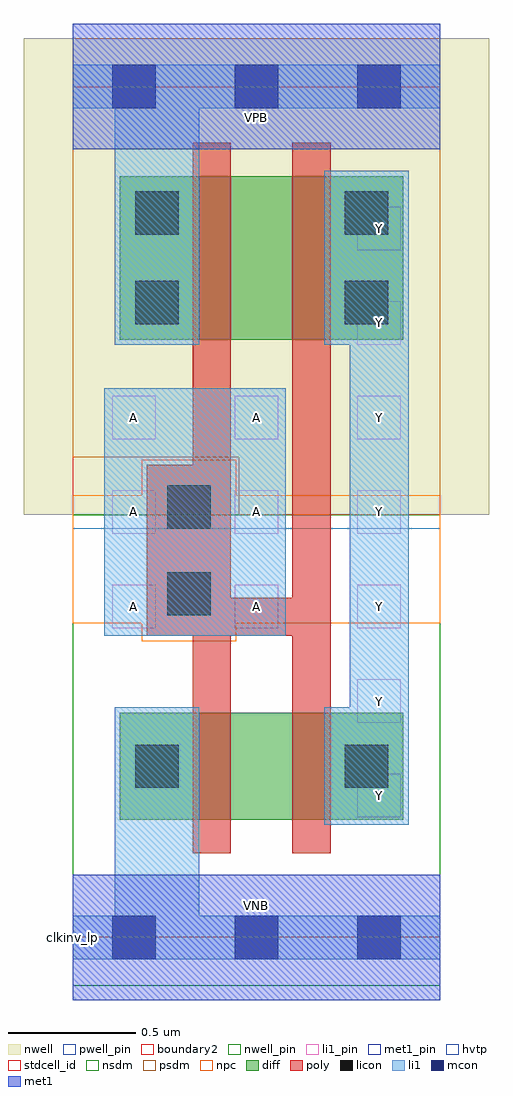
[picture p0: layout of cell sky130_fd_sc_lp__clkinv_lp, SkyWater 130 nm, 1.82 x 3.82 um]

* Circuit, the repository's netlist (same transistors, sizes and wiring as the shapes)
* Copyright 2020 The SkyWater PDK Authors
*
* Licensed under the Apache License, Version 2.0 (the "License");
* you may not use this file except in compliance with the License.
* You may obtain a copy of the License at
*
*     https://www.apache.org/licenses/LICENSE-2.0
*
* Unless required by applicable law or agreed to in writing, software
* distributed under the License is distributed on an "AS IS" BASIS,
* WITHOUT WARRANTIES OR CONDITIONS OF ANY KIND, either express or implied.
* See the License for the specific language governing permissions and
* limitations under the License.
*
* SPDX-License-Identifier: Apache-2.0

.SUBCKT sky130_fd_sc_lp__clkinv_lp A VGND VNB VPB VPWR Y
*.PININFO A:I VGND:I VNB:I VPB:I VPWR:I Y:O
MMIP0 Y A net17 VPB sky130_fd_pr__pfet_01v8_hvt m=1 w=0.64U l=0.15U mult=1 sa=0.265
+ sb=0.265 sd=0.28 area=0.063 perim=1.14
MI6 net17 A VPWR VPB sky130_fd_pr__pfet_01v8_hvt m=1 w=0.64U l=0.15U mult=1 sa=0.265
+ sb=0.265 sd=0.28 area=0.063 perim=1.14
MMIN0 Y A net25 VNB sky130_fd_pr__nfet_01v8 m=1 w=0.42U l=0.15U mult=1 sa=0.265
+ sb=0.265 sd=0.28 area=0.063 perim=1.14
MI5 net25 A VGND VNB sky130_fd_pr__nfet_01v8 m=1 w=0.42U l=0.15U mult=1 sa=0.265
+ sb=0.265 sd=0.28 area=0.063 perim=1.14
.ENDS sky130_fd_sc_lp__clkinv_lp

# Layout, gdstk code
import gdstk
lib = gdstk.Library(unit=1e-6, precision=1e-09)
def R(c, l, rs):  # rectangles x0, y0, x1, y1
    for r in rs: c.add(gdstk.rectangle(r[:2], r[2:], *l))
def A(c, l, x, y, w, h, nx, ny, dx, dy):  # array of equal rectangles
    R(c, l, [(x+i*dx, y+j*dy, x+i*dx+w, y+j*dy+h) for i in range(nx) for j in range(ny)])
def P(c, l, *ps):  # polygons
    for p in ps: c.add(gdstk.Polygon(p, *l))
nwell_pin = (64, 16)
nwell = (64, 20)
diff = (65, 20)
poly = (66, 20)
licon = (66, 44)
li1_pin = (67, 16)
li1 = (67, 20)
mcon = (67, 44)
met1_pin = (68, 16)
met1 = (68, 20)
hvtp = (78, 44)
stdcell_id = (81, 4)
nsdm = (93, 44)
psdm = (94, 20)
npc = (95, 20)
pwell_pin = (122, 16)
boundary2 = (236, 0)

sky130_fd_sc_lp__clkinv_ = lib.new_cell('sky130_fd_sc_lp__clkinv_lp')
R(sky130_fd_sc_lp__clkinv_, nwell_pin, [(0,3.085,1.44,3.33)])
R(sky130_fd_sc_lp__clkinv_, nwell, [(-0.19,1.655,1.63,3.52)])
R(sky130_fd_sc_lp__clkinv_, diff, [(0.185,0.46,1.295,0.88), (0.185,2.34,1.295,2.98)])
P(sky130_fd_sc_lp__clkinv_, poly, [(1.01,3.11),(0.86,3.11),(0.86,1.33),(0.62,1.33),(0.62,3.11),(0.47,3.11),(0.47,1.85),(0.29,1.85),(0.29,1.18),(0.47,1.18),(0.47,0.33),(0.62,0.33),(0.62,1.18),(0.86,1.18),(0.86,0.33),(1.01,0.33)])
R(sky130_fd_sc_lp__clkinv_, licon, [(0.245,0.585,0.415,0.755), (1.065,0.585,1.235,0.755), (0.37,1.26,0.54,1.43), (0.37,1.6,0.54,1.77), (0.245,2.4,0.415,2.57), (1.065,2.4,1.235,2.57), (0.245,2.75,0.415,2.92), (1.065,2.75,1.235,2.92)])
A(sky130_fd_sc_lp__clkinv_, li1_pin, 0.155, 1.21, 0.17, 0.17, 3, 3, 0.48, 0.37)
R(sky130_fd_sc_lp__clkinv_, li1_pin, [(1.115,0.47,1.285,0.64), (1.115,0.84,1.285,1.01), (1.115,2.32,1.285,2.49), (1.115,2.69,1.285,2.86)])
R(sky130_fd_sc_lp__clkinv_, li1, [(0.125,1.18,0.835,2.15)])
P(sky130_fd_sc_lp__clkinv_, li1, [(0.165,2.32),(0.165,3.245),(0,3.245),(0,3.415),(1.44,3.415),(1.44,3.245),(0.495,3.245),(0.495,2.32)],
  [(0.165,0.085),(0.165,0.9),(0.495,0.9),(0.495,0.085),(1.44,0.085),(1.44,-0.085),(0,-0.085),(0,0.085)],
  [(0.985,2.32),(0.985,3),(1.315,3),(1.315,0.44),(0.985,0.44),(0.985,0.9),(1.085,0.9),(1.085,2.32)])
A(sky130_fd_sc_lp__clkinv_, mcon, 0.155, -0.085, 0.17, 0.17, 3, 2, 0.48, 3.33)
R(sky130_fd_sc_lp__clkinv_, met1_pin, [(0,0,1.44,0.245), (0,3.085,1.44,3.33)])
R(sky130_fd_sc_lp__clkinv_, met1, [(0,-0.245,1.44,0.245), (0,3.085,1.44,3.575)])
R(sky130_fd_sc_lp__clkinv_, hvtp, [(0,1.6,1.44,3.33)])
R(sky130_fd_sc_lp__clkinv_, stdcell_id, [(0,0,1.44,3.33)])
R(sky130_fd_sc_lp__clkinv_, nsdm, [(0,-0.19,1.44,1.655)])
P(sky130_fd_sc_lp__clkinv_, psdm, [(1.44,3.52),(0,3.52),(0,1.88),(0.65,1.88),(0.65,1.655),(1.44,1.655)])
P(sky130_fd_sc_lp__clkinv_, npc, [(1.44,1.73),(0.64,1.73),(0.64,1.87),(0.27,1.87),(0.27,1.73),(0,1.73),(0,1.23),(0.27,1.23),(0.27,1.16),(0.64,1.16),(0.64,1.23),(1.44,1.23)])
R(sky130_fd_sc_lp__clkinv_, pwell_pin, [(0,0,1.44,0.245)])
R(sky130_fd_sc_lp__clkinv_, boundary2, [(0,0,1.44,3.33)])
sky130_fd_sc_lp__clkinv_.add(gdstk.Label('VNB', (0.72,0.123), layer=64, texttype=59))
sky130_fd_sc_lp__clkinv_.add(gdstk.Label('VPB', (0.72,3.208), layer=64, texttype=5))
sky130_fd_sc_lp__clkinv_.add(gdstk.Label('clkinv_lp', (0,0), layer=83, texttype=44))
sky130_fd_sc_lp__clkinv_.add(gdstk.Label('VPWR', (0.72,3.208), layer=68, texttype=5))
sky130_fd_sc_lp__clkinv_.add(gdstk.Label('VGND', (0.72,0.123), layer=68, texttype=5))
sky130_fd_sc_lp__clkinv_.add(gdstk.Label('A', (0.24,1.295), layer=67, texttype=5))
sky130_fd_sc_lp__clkinv_.add(gdstk.Label('A', (0.24,1.665), layer=67, texttype=5))
sky130_fd_sc_lp__clkinv_.add(gdstk.Label('A', (0.24,2.035), layer=67, texttype=5))
sky130_fd_sc_lp__clkinv_.add(gdstk.Label('A', (0.72,1.295), layer=67, texttype=5))
sky130_fd_sc_lp__clkinv_.add(gdstk.Label('A', (0.72,1.665), layer=67, texttype=5))
sky130_fd_sc_lp__clkinv_.add(gdstk.Label('A', (0.72,2.035), layer=67, texttype=5))
sky130_fd_sc_lp__clkinv_.add(gdstk.Label('Y', (1.2,0.555), layer=67, texttype=5))
sky130_fd_sc_lp__clkinv_.add(gdstk.Label('Y', (1.2,0.925), layer=67, texttype=5))
sky130_fd_sc_lp__clkinv_.add(gdstk.Label('Y', (1.2,1.295), layer=67, texttype=5))
sky130_fd_sc_lp__clkinv_.add(gdstk.Label('Y', (1.2,1.665), layer=67, texttype=5))
sky130_fd_sc_lp__clkinv_.add(gdstk.Label('Y', (1.2,2.035), layer=67, texttype=5))
sky130_fd_sc_lp__clkinv_.add(gdstk.Label('Y', (1.2,2.405), layer=67, texttype=5))
sky130_fd_sc_lp__clkinv_.add(gdstk.Label('Y', (1.2,2.775), layer=67, texttype=5))

lib.write_gds('sky130_fd_sc_lp__clkinv_lp.gds')
